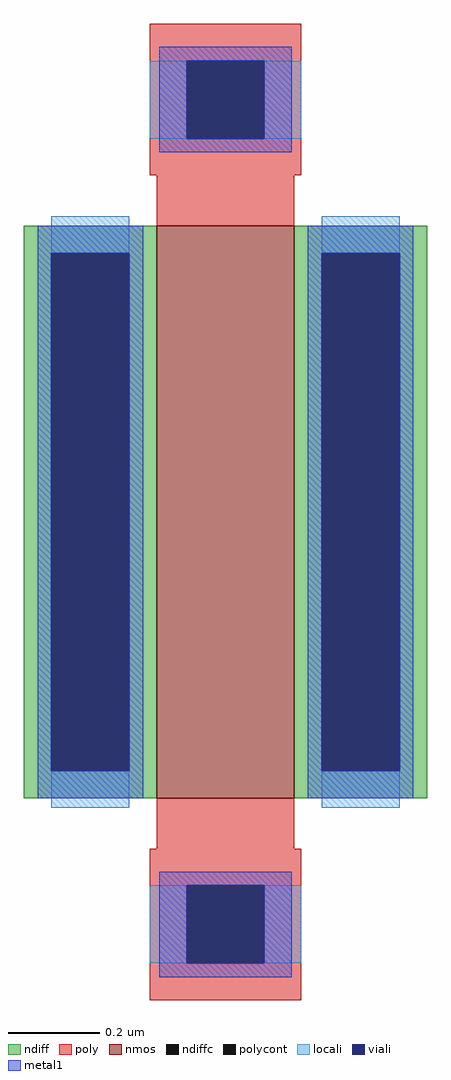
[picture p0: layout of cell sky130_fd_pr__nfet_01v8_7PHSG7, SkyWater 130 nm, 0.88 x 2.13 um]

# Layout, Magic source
magic
tech sky130A
magscale 1 2
<< nmos >>
rect -30 -125 30 125
<< ndiff >>
rect -88 113 -30 125
rect -88 -113 -76 113
rect -42 -113 -30 113
rect -88 -125 -30 -113
rect 30 113 88 125
rect 30 -113 42 113
rect 76 -113 88 113
rect 30 -125 88 -113
<< ndiffc >>
rect -76 -113 -42 113
rect 42 -113 76 113
<< poly >>
rect -33 197 33 213
rect -33 163 -17 197
rect 17 163 33 197
rect -33 147 33 163
rect -30 125 30 147
rect -30 -147 30 -125
rect -33 -163 33 -147
rect -33 -197 -17 -163
rect 17 -197 33 -163
rect -33 -213 33 -197
<< polycont >>
rect -17 163 17 197
rect -17 -197 17 -163
<< locali >>
rect -33 163 -17 197
rect 17 163 33 197
rect -76 113 -42 129
rect -76 -129 -42 -113
rect 42 113 76 129
rect 42 -129 76 -113
rect -33 -197 -17 -163
rect 17 -197 33 -163
<< viali >>
rect -17 163 17 197
rect -76 -113 -42 113
rect 42 -113 76 113
rect -17 -197 17 -163
<< metal1 >>
rect -29 197 29 203
rect -29 163 -17 197
rect 17 163 29 197
rect -29 157 29 163
rect -82 113 -36 125
rect -82 -113 -76 113
rect -42 -113 -36 113
rect -82 -125 -36 -113
rect 36 113 82 125
rect 36 -113 42 113
rect 76 -113 82 113
rect 36 -125 82 -113
rect -29 -163 29 -157
rect -29 -197 -17 -163
rect 17 -197 29 -163
rect -29 -203 29 -197
<< properties >>
string gencell sky130_fd_pr__nfet_01v8
string library sky130
string parameters w 1.25 l 0.3 m 1 nf 1 diffcov 100 polycov 100 guard 0 glc 1 grc 1 gtc 1 gbc 1 tbcov 100 rlcov 100 topc 1 botc 1 poverlap 0 doverlap 1 lmin 0.15 wmin 0.42 class mosfet compatible {sky130_fd_pr__nfet_01v8 sky130_fd_pr__nfet_01v8_lvt  sky130_fd_bs_flash__special_sonosfet_star  sky130_fd_pr__nfet_g5v0d10v5 sky130_fd_pr__nfet_05v0_nvt  sky130_fd_pr__nfet_03v3_nvt} full_metal 1 viasrc 100 viadrn 100 viagate 100 viagb 0 viagr 0 viagl 0 viagt 0
<< end >>
